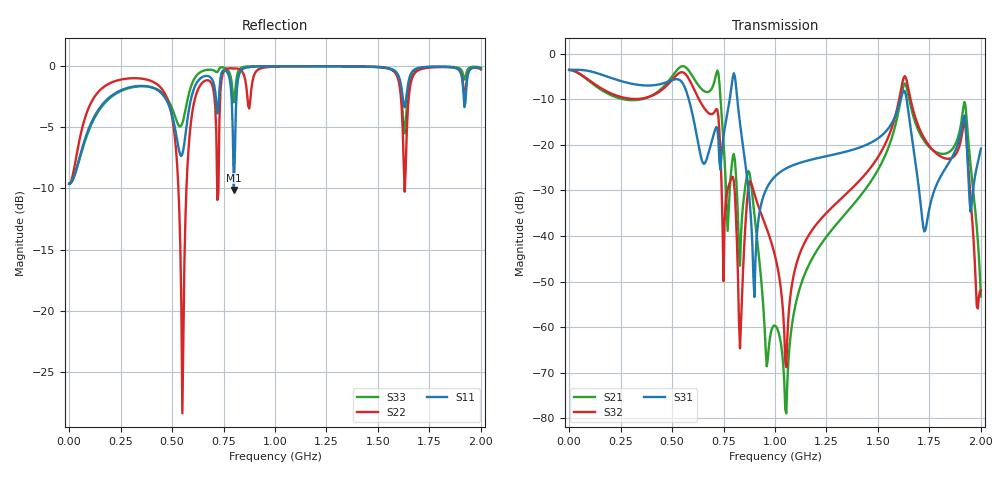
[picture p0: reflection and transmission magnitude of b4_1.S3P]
!Generated from: C:\Users\nkfzm\OneDrive - University of Missouri\Desktop\Research\PowerSI\Board 4 - GGPGG\b4.spd
! Port1_decap_port1_1::pwr
! Port2_decap_port2_1::pwr
! Port3_ic_port_1::pwr
!Layout Workbench Version: 24.1.0.10141.541387  000
!Computer Host Name: RS29JQCX3
!TouchstoneFormatFlag = 1
! GNDNET gnd
! NETSLIST
#	Hz	Z	RI	R	1
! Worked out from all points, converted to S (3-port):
!   625 points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, 100 mHz to 2 GHz, reference 1 ohm
!   strongest paths, dB at 100 mHz, 164 MHz, 476 MHz, 1.22 GHz, 2 GHz:
!     S31: -3.5, -4.7, -6.2, -22.8, -20.8
!     S32: -3.5, -7.8, -6.9, -36.4, -52.0
!     S21: -3.5, -8.1, -6.4, -42.0, -53.3
!   lowest |S11| = -10.1 dB at 800 MHz (marker M1), VSWR 1.91, Z = 0.607 - j0.327 ohm
!   |S11| at or under -10 dB: 799.8678 MHz to 800.2196 MHz (351.8 kHz wide, 0.044 % of centre)
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0.1  2.282e+09 -8.511e+09  2.282e+09 -8.511e+09  2.282e+09 -8.511e+09
     2.282e+09 -8.511e+09  2.282e+09 -8.511e+09  2.282e+09 -8.511e+09
     2.282e+09 -8.511e+09  2.282e+09 -8.511e+09  2.282e+09 -8.511e+09
8e8  0.206 0.6021  -0.0166 0.4603  0.1201 -1.955
     -0.0166 0.4603  0.5037 6.957  -0.00854 0.0109
     0.1201 -1.955  -0.00854 0.0109  0.1093 3.747
8.35e8  0.0848 2.392  -0.0102 0.2529  0.0426 -0.8557
        -0.0102 0.2529  6.742 -16.45  -0.00446 -0.0869
        0.0426 -0.8557  -0.00446 -0.0869  0.061 4.737
9e8  0.0556 3.877  -0.00439 0.0586  0.0246 0.0106
     -0.00439 0.0586  0.1066 1.307  -0.000513 -0.1466
     0.0246 0.0106  -0.000513 -0.1466  0.0522 5.834
1.005e9  0.0532 5.478  0.000238 -0.0205  0.0248 0.9375
         0.000238 -0.0205  0.0527 3.697  0.0035 -0.0793
         0.0248 0.9375  0.0035 -0.0793  0.0577 7.361
1.055e9  0.0562 6.184  0.00221 0.0016  0.0282 1.37
         0.00221 0.0016  0.0506 4.418  0.00569 0.00426
         0.0282 1.37  0.00569 0.00426  0.0633 8.122
1.63e9  0.2468 9.043  -0.00312 -5.662  0.2233 -0.6533
        -0.00312 -5.662  0.1605 8.839  0.0222 -6.157
        0.2233 -0.6533  0.0222 -6.157  0.2938 7.967
1.73e9  0.4579 14.76  -0.2447 -7.378  0.3871 4.417
        -0.2447 -7.378  0.3142 12.65  -0.2026 -7.267
        0.3871 4.417  -0.2026 -7.267  0.4167 13.86
1.92e9  0.91 5.718  -0.4618 4.844  0.8091 -3.309
        -0.4618 4.844  0.6918 7.323  -0.3888 3.533
        0.8091 -3.309  -0.3888 3.533  0.829 9.881
2e9  26.65 -4.577  -0.1345 1.67  28.64 -15.78
     -0.1345 1.67  22.1 28.22  -0.1081 0.8734
     28.64 -15.78  -0.1081 0.8734  30.9 -3.592
